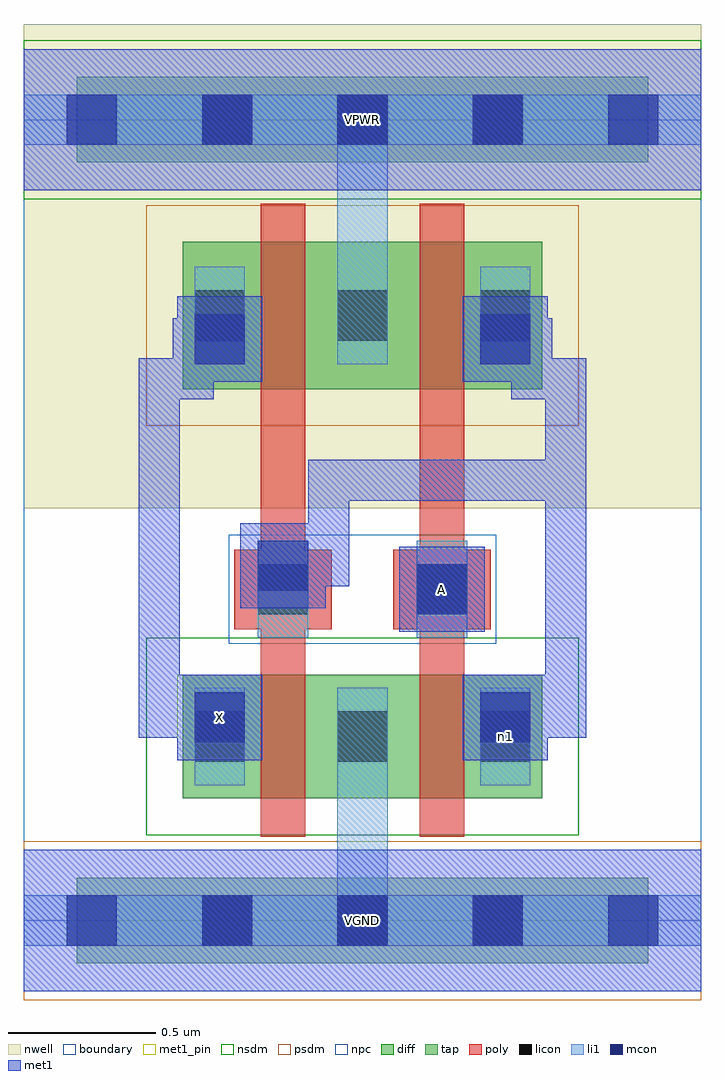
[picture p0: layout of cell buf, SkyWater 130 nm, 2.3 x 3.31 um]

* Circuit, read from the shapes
.subckt buf A VGND VPWR X n1
XM1 VGND n1 X VGND sky130_fd_pr__nfet_01v8 w=0.42 l=0.15
XM2 n1 A VGND VGND sky130_fd_pr__nfet_01v8 w=0.42 l=0.15
XM3 VPWR n1 X VPWR sky130_fd_pr__pfet_01v8 w=0.5 l=0.15
XM4 n1 A VPWR VPWR sky130_fd_pr__pfet_01v8 w=0.5 l=0.15
.ends

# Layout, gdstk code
import gdstk
lib = gdstk.Library(unit=1e-6, precision=1e-09)
def R(c, l, rs):  # rectangles x0, y0, x1, y1
    for r in rs: c.add(gdstk.rectangle(r[:2], r[2:], *l))
def A(c, l, x, y, w, h, nx, ny, dx, dy):  # array of equal rectangles
    R(c, l, [(x+i*dx, y+j*dy, x+i*dx+w, y+j*dy+h) for i in range(nx) for j in range(ny)])
nwell = (64, 20)
diff = (65, 20)
tap = (65, 44)
poly = (66, 20)
licon = (66, 44)
li1 = (67, 20)
mcon = (67, 44)
met1_pin = (68, 16)
met1 = (68, 20)
nsdm = (93, 44)
psdm = (94, 20)
npc = (95, 20)
boundary = (235, 4)

buf = lib.new_cell('buf')
R(buf, nwell, [(0,1.4,2.3,3.045)])
R(buf, diff, [(0.54,0.415,1.76,0.835), (0.54,1.805,1.76,2.305)])
R(buf, tap, [(0.18,-0.145,2.12,0.145), (0.18,2.575,2.12,2.865)])
R(buf, poly, [(0.805,0.285,0.955,2.435), (1.345,0.285,1.495,2.435), (0.715,0.99,1.045,1.26), (1.255,0.99,1.585,1.26)])
A(buf, licon, 0.605, -0.085, 0.17, 0.17, 3, 2, 0.46, 2.72)
A(buf, licon, 0.58, 0.54, 0.17, 0.17, 3, 2, 0.485, 1.43)
R(buf, licon, [(0.795,1.04,0.965,1.21), (1.335,1.04,1.505,1.21)])
A(buf, li1, 0.58, 0.46, 0.17, 0.33, 3, 2, 0.485, 1.43)
R(buf, li1, [(0,-0.085,2.3,0.085), (1.065,-0.085,1.235,0.79), (0.795,0.96,0.965,1.29), (1.335,0.96,1.505,1.29), (1.065,1.89,1.235,2.805), (0,2.635,2.3,2.805)])
A(buf, mcon, 0.145, -0.085, 0.17, 0.17, 5, 2, 0.46, 2.72)
R(buf, mcon, [(0.58,0.605,0.75,0.775), (1.55,0.605,1.72,0.775), (1.335,1.04,1.505,1.21), (0.795,1.12,0.965,1.29), (0.58,1.89,0.75,2.06), (1.55,1.89,1.72,2.06)])
R(buf, met1_pin, [(0,-0.24,2.3,0.24), (0.52,0.545,0.81,0.835), (1.275,0.98,1.565,1.27), (0,2.48,2.3,2.96)])
R(buf, met1, [(0,-0.24,2.3,0.24), (0.52,0.545,0.81,0.835), (1.49,0.545,1.78,0.835), (0.39,0.62,0.645,0.76), (0.39,0.62,0.53,1.91), (0.505,0.62,0.735,0.76), (1.565,0.62,1.795,0.76), (1.655,0.62,1.91,0.76), (1.77,0.62,1.91,1.91), (1.275,0.98,1.565,1.27), (0.735,1.06,1.025,1.35), (0.81,1.135,1.105,1.275), (0.965,1.135,1.105,1.45), (0.965,1.31,1.105,1.565), (0.965,1.425,1.91,1.565), (0.39,1.77,0.645,1.91), (0.505,1.77,0.645,2.045), (1.655,1.77,1.795,2.045), (1.655,1.77,1.91,1.91), (0.52,1.83,0.81,2.12), (1.49,1.83,1.78,2.12), (0.505,1.905,0.735,2.045), (1.565,1.905,1.795,2.045), (0,2.48,2.3,2.96)])
R(buf, nsdm, [(0.415,0.29,1.885,0.96), (0,2.45,2.3,2.99)])
R(buf, psdm, [(0,-0.27,2.3,0.27), (0.415,1.68,1.885,2.43)])
R(buf, npc, [(0.695,0.94,1.605,1.31)])
R(buf, boundary, [(0,0,2.3,2.72)])
buf.add(gdstk.Label('n1', (1.635,0.625), layer=67, texttype=5))
buf.add(gdstk.Label('A', (1.42,1.125), layer=68, texttype=5))
buf.add(gdstk.Label('X', (0.665,0.69), layer=68, texttype=5))
buf.add(gdstk.Label('VPWR', (1.15,2.72), layer=68, texttype=5))
buf.add(gdstk.Label('VGND', (1.15,0), layer=68, texttype=5))
buf.add(gdstk.Label('A', (1.42,1.125), layer=68, texttype=16))
buf.add(gdstk.Label('X', (0.665,0.69), layer=68, texttype=16))
buf.add(gdstk.Label('VPWR', (1.15,2.72), layer=68, texttype=16))
buf.add(gdstk.Label('VGND', (1.15,0), layer=68, texttype=16))

lib.write_gds('buf.gds')
